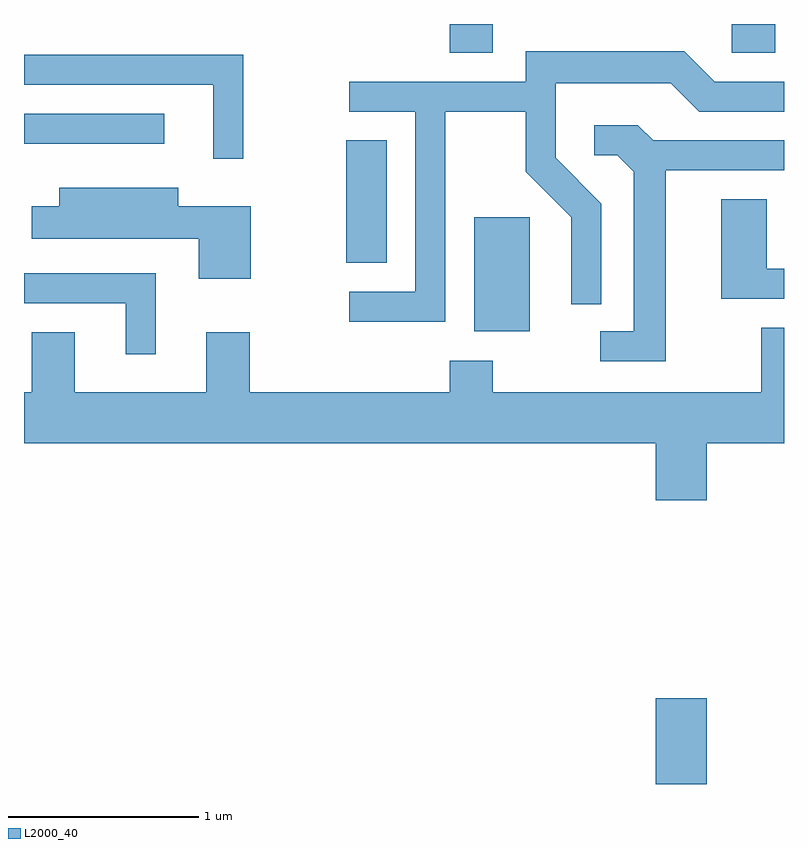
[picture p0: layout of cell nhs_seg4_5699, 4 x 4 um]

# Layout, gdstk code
import gdstk
lib = gdstk.Library(unit=1e-6, precision=1e-09)
def R(c, l, rs):  # rectangles x0, y0, x1, y1
    for r in rs: c.add(gdstk.rectangle(r[:2], r[2:], *l))
def P(c, l, *ps):  # polygons
    for p in ps: c.add(gdstk.Polygon(p, *l))
L2000_40 = (2000, 40)

nhs_seg4_5699 = lib.new_cell('nhs_seg4_5699')
R(nhs_seg4_5699, L2000_40, [(354.936,1363.982,355.204,1364.434), (353.981,1366.366,354.274,1366.964), (353.306,1366.726,353.519,1367.369), (351.611,1367.351,352.348,1367.509), (353.851,1367.831,354.079,1367.982), (355.336,1367.831,355.564,1367.982)])
P(nhs_seg4_5699, L2000_40, [(353.829,1367.521),(354.251,1367.521),(354.251,1367.204),(354.491,1366.964),(354.491,1366.508),(354.649,1366.508),(354.649,1367.037),(354.409,1367.277),(354.409,1367.671),(355.014,1367.671),(355.164,1367.521),(355.611,1367.521),(355.611,1367.679),(355.247,1367.679),(355.087,1367.839),(354.251,1367.839),(354.251,1367.679),(353.323,1367.679),(353.323,1367.521),(353.671,1367.521),(353.671,1366.574),(353.323,1366.574),(353.323,1366.416),(353.829,1366.416)],
  [(352.764,1367.819),(351.611,1367.819),(351.611,1367.661),(352.606,1367.661),(352.606,1367.273),(352.764,1367.273)],
  [(354.989,1367.211),(355.611,1367.211),(355.611,1367.369),(354.922,1367.369),(354.842,1367.449),(354.613,1367.449),(354.613,1367.291),(354.734,1367.291),(354.821,1367.204),(354.821,1366.364),(354.643,1366.364),(354.643,1366.206),(354.989,1366.206)],
  [(352.804,1367.024),(352.424,1367.024),(352.424,1367.119),(351.796,1367.119),(351.796,1367.024),(351.651,1367.024),(351.651,1366.851),(352.531,1366.851),(352.531,1366.641),(352.804,1366.641)],
  [(355.611,1366.694),(355.519,1366.694),(355.519,1367.059),(355.281,1367.059),(355.281,1366.536),(355.611,1366.536)],
  [(352.304,1366.669),(351.611,1366.669),(351.611,1366.511),(352.146,1366.511),(352.146,1366.243),(352.304,1366.243)],
  [(351.651,1366.359),(351.651,1366.044),(351.611,1366.044),(351.611,1365.776),(354.936,1365.776),(354.936,1365.476),(355.204,1365.476),(355.204,1365.776),(355.611,1365.776),(355.611,1366.384),(355.491,1366.384),(355.491,1366.044),(354.079,1366.044),(354.079,1366.209),(353.851,1366.209),(353.851,1366.044),(352.799,1366.044),(352.799,1366.359),(352.571,1366.359),(352.571,1366.044),(351.879,1366.044),(351.879,1366.359)])

lib.write_gds('nhs_seg4_5699.gds')
